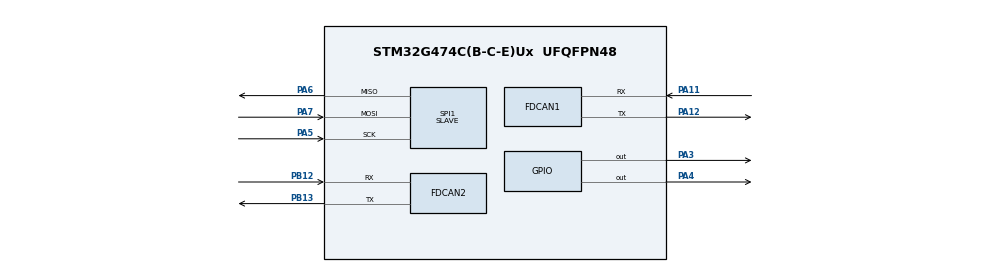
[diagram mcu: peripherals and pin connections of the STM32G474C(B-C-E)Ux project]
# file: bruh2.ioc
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Dma.Request0=SPI1_TX
Dma.Request1=SPI1_RX
Dma.SPI1_RX.1.Direction=DMA_PERIPH_TO_MEMORY
Dma.SPI1_RX.1.EventEnable=DISABLE
Dma.SPI1_RX.1.Instance=DMA1_Channel2
Dma.SPI1_RX.1.MemDataAlignment=DMA_MDATAALIGN_HALFWORD
Dma.SPI1_RX.1.MemInc=DMA_MINC_ENABLE
Dma.SPI1_RX.1.Mode=DMA_NORMAL
Dma.SPI1_RX.1.PeriphDataAlignment=DMA_PDATAALIGN_HALFWORD
Dma.SPI1_RX.1.PeriphInc=DMA_PINC_DISABLE
Dma.SPI1_RX.1.Polarity=HAL_DMAMUX_REQ_GEN_RISING
Dma.SPI1_RX.1.Priority=DMA_PRIORITY_LOW
Dma.SPI1_RX.1.RequestNumber=1
Dma.SPI1_RX.1.SignalID=NONE
Dma.SPI1_RX.1.SyncEnable=DISABLE
Dma.SPI1_RX.1.SyncPolarity=HAL_DMAMUX_SYNC_NO_EVENT
Dma.SPI1_RX.1.SyncRequestNumber=1
Dma.SPI1_RX.1.SyncSignalID=NONE
Dma.SPI1_TX.0.Direction=DMA_MEMORY_TO_PERIPH
Dma.SPI1_TX.0.EventEnable=DISABLE
Dma.SPI1_TX.0.Instance=DMA1_Channel1
Dma.SPI1_TX.0.MemDataAlignment=DMA_MDATAALIGN_HALFWORD
Dma.SPI1_TX.0.MemInc=DMA_MINC_ENABLE
Dma.SPI1_TX.0.Mode=DMA_NORMAL
Dma.SPI1_TX.0.PeriphDataAlignment=DMA_PDATAALIGN_HALFWORD
Dma.SPI1_TX.0.PeriphInc=DMA_PINC_DISABLE
Dma.SPI1_TX.0.Polarity=HAL_DMAMUX_REQ_GEN_RISING
Dma.SPI1_TX.0.Priority=DMA_PRIORITY_HIGH
Dma.SPI1_TX.0.RequestNumber=1
Dma.SPI1_TX.0.SignalID=NONE
Dma.SPI1_TX.0.SyncEnable=DISABLE
Dma.SPI1_TX.0.SyncPolarity=HAL_DMAMUX_SYNC_NO_EVENT
Dma.SPI1_TX.0.SyncRequestNumber=1
Dma.SPI1_TX.0.SyncSignalID=NONE
FDCAN1.CalculateBaudRateNominal=1000000
FDCAN1.CalculateTimeBitNominal=1000
FDCAN1.CalculateTimeQuantumNominal=6.25
FDCAN1.ClockDivider=FDCAN_CLOCK_DIV1
FDCAN1.DataSyncJumpWidth=3
FDCAN1.DataTimeSeg1=9
FDCAN1.DataTimeSeg2=10
FDCAN1.FrameFormat=FDCAN_FRAME_FD_NO_BRS
FDCAN1.NominalPrescaler=1
FDCAN1.NominalSyncJumpWidth=40
FDCAN1.NominalTimeSeg1=119
FDCAN1.NominalTimeSeg2=40
FDCAN2.CalculateBaudRateNominal=1000000
FDCAN2.CalculateTimeBitNominal=1000
FDCAN2.CalculateTimeQuantumNominal=6.25
FDCAN2.DataSyncJumpWidth=10
FDCAN2.DataTimeSeg1=9
FDCAN2.DataTimeSeg2=10
FDCAN2.FrameFormat=FDCAN_FRAME_CLASSIC
FDCAN2.NominalPrescaler=1
FDCAN2.NominalSyncJumpWidth=40
FDCAN2.NominalTimeSeg1=119
FDCAN2.NominalTimeSeg2=40
Mcu.Family=STM32G4
Mcu.Name=STM32G474C(B-C-E)Ux
Mcu.Package=UFQFPN48
NVIC.DMA1_Channel1_IRQn=true\:0\:0\:false\:false\:true\:false\:true\:true
NVIC.DMA1_Channel2_IRQn=true\:0\:0\:false\:false\:true\:false\:true\:true
NVIC.FDCAN1_IT0_IRQn=true\:0\:0\:false\:false\:true\:true\:true\:true
NVIC.FDCAN2_IT0_IRQn=true\:0\:0\:false\:false\:true\:true\:true\:true
NVIC.PriorityGroup=NVIC_PRIORITYGROUP_4
NVIC.TIM1_UP_TIM16_IRQn=true\:15\:0\:false\:false\:true\:false\:true\:true
NVIC.TimeBase=TIM1_UP_TIM16_IRQn
NVIC.TimeBaseIP=TIM16
PA11.Mode=FDCAN_Activate
PA11.Signal=FDCAN1_RX
PA12.Mode=FDCAN_Activate
PA12.Signal=FDCAN1_TX
PA13.Mode=Trace_Asynchronous_SW
PA13.Signal=SYS_JTMS-SWDIO
PA14.Mode=Trace_Asynchronous_SW
PA14.Signal=SYS_JTCK-SWCLK
PA3.GPIO_Speed=GPIO_SPEED_FREQ_VERY_HIGH
PA3.Signal=GPIO_Output
PA4.GPIO_Speed=GPIO_SPEED_FREQ_VERY_HIGH
PA4.Signal=GPIO_Output
PA5.Mode=Full_Duplex_Slave
PA5.Signal=SPI1_SCK
PA6.Mode=Full_Duplex_Slave
PA6.Signal=SPI1_MISO
PA7.GPIO_PuPd=GPIO_PULLDOWN
PA7.Mode=Full_Duplex_Slave
PA7.Signal=SPI1_MOSI
PB12.Mode=FDCAN_Activate
PB12.Signal=FDCAN2_RX
PB13.Mode=FDCAN_Activate
PB13.Signal=FDCAN2_TX
PB3.Mode=Trace_Asynchronous_SW
PB3.Signal=SYS_JTDO-SWO
PF0-OSC_IN.Signal=RCC_OSC_IN
PF1-OSC_OUT.Signal=RCC_OSC_OUT
ProjectManager.HeapSize=0x200
ProjectManager.StackSize=0x400
ProjectManager.TargetToolchain=CMake
RCC.ADC12Freq_Value=160000000
RCC.ADC345Freq_Value=160000000
RCC.AHBFreq_Value=160000000
RCC.APB1Freq_Value=160000000
RCC.APB1TimFreq_Value=160000000
RCC.APB2Freq_Value=160000000
RCC.APB2TimFreq_Value=160000000
RCC.CortexFreq_Value=160000000
RCC.EXTERNAL_CLOCK_VALUE=12288000
RCC.HCLKFreq_Value=160000000
RCC.HSE_VALUE=8000000
RCC.HSI48_VALUE=48000000
RCC.HSI_VALUE=16000000
RCC.LSE_VALUE=32768
RCC.PLLN=20
RCC.SYSCLKFreq_VALUE=160000000
RCC.SYSCLKSource=RCC_SYSCLKSOURCE_PLLCLK
RCC.USBFreq_Value=160000000
RCC.VCOOutputFreq_Value=320000000
SPI1.DataSize=SPI_DATASIZE_16BIT
SPI1.Direction=SPI_DIRECTION_2LINES
SPI1.FirstBit=SPI_FIRSTBIT_MSB
SPI1.Mode=SPI_MODE_SLAVE
SPI1.VirtualType=VM_SLAVE
VP_SYS_VS_DBSignals.Mode=DisableDeadBatterySignals
VP_SYS_VS_tim16.Mode=TIM16
board=custom

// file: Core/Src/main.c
/* USER CODE BEGIN Header */
/**
  ******************************************************************************
  * @file           : main.c
  * @brief          : Main program body
  ******************************************************************************
  * @attention
  *
  * Copyright (c) 2026 STMicroelectronics.
  * All rights reserved.
  *
  * This software is licensed under terms that can be found in the LICENSE file
  * in the root directory of this software component.
  * If no LICENSE file comes with this software, it is provided AS-IS.
  *
  ******************************************************************************
  */
/* USER CODE END Header */
#include "main.h"
#include "dma.h"
#include "fdcan.h"
#include "spi.h"
#include "gpio.h"

/* USER CODE BEGIN Includes */
#include <stdio.h>
#include <string.h>
#include <circularBuffer.h>
/* USER CODE END Includes */

/* USER CODE BEGIN PD */
#ifdef __GNUC__
#define PUTCHAR_PROTOTYPE int __io_putchar(int ch)
#else
#define PUTCHAR_PROTOTYPE int fputc(int ch, FILE *f)
#endif

/* USER CODE END PD */

/* USER CODE BEGIN PM */
PUTCHAR_PROTOTYPE
{
  ITM_SendChar(ch);
  return ch;
}
/* USER CODE END PM */

/* USER CODE BEGIN PV */
FDCAN_RxHeaderTypeDef RxHeader_FDCAN2;
enum {
  TRANSFER_WAIT,
  TRANSFER_COMPLETE,
  TRANSFER_ERROR
};
__IO uint32_t wTransferState = TRANSFER_COMPLETE;
struct CAN{
  union{
    uint16_t buffer[35];
    struct{
      uint32_t ID;
      uint8_t bus;
      uint8_t length;
      uint8_t data[64];
    }split;
  }combined;
};

/* DLC to actual byte count lookup (same as HAL internal table) */
static const uint8_t dlc2bytes[] = {0,1,2,3,4,5,6,7,8,12,16,20,24,32,48,64};

/* Dedicated DMA TX buffer — prevents the circular-buffer slot being
   overwritten by a new CAN message while DMA is still reading from it. */
static struct CAN txBuf;

struct CAN buffer[64];

CircularBuffer *cb = NULL;

/* USER CODE END PV */

void SystemClock_Config(void);

int main(void)
{

  /* MCU Configuration--------------------------------------------------------*/

  /* Reset of all peripherals, Initializes the Flash interface and the Systick. */
  bruh:
  HAL_Init();

  /* USER CODE BEGIN Init */
  static uint16_t RxData[36];
  FDCAN_TxHeaderTypeDef TxHeader;
  TxHeader.Identifier = 0x3FF;
  TxHeader.IdType = FDCAN_STANDARD_ID;
  TxHeader.TxFrameType = FDCAN_DATA_FRAME;
  TxHeader.DataLength = FDCAN_DLC_BYTES_8;
  TxHeader.ErrorStateIndicator = FDCAN_ESI_ACTIVE;
  TxHeader.BitRateSwitch = FDCAN_BRS_OFF;
  TxHeader.FDFormat = FDCAN_CLASSIC_CAN;
  TxHeader.TxEventFifoControl = FDCAN_NO_TX_EVENTS;
  TxHeader.MessageMarker = 0;

  /* USER CODE END Init */

  /* Configure the system clock */
  SystemClock_Config();

  /* Initialize all configured peripherals */
  MX_GPIO_Init();
  MX_DMA_Init();
  MX_FDCAN1_Init();
  MX_SPI1_Init();
  MX_FDCAN2_Init();
  /* USER CODE BEGIN 2 */
  cb = circular_buffer_init(64, 72);
  // sets the CS pin to high to avoid any fuckery
  GPIOA->BSRR = (uint32_t)GPIO_PIN_4;
  HAL_FDCAN_ActivateNotification(&hfdcan2, FDCAN_IT_RX_FIFO0_NEW_MESSAGE, 0);
  HAL_FDCAN_ActivateNotification(&hfdcan1, FDCAN_IT_RX_FIFO0_NEW_MESSAGE, 0);
  HAL_FDCAN_Start(&hfdcan1);
  HAL_FDCAN_Start(&hfdcan2);
  uint32_t time = HAL_GetTick();

  /* USER CODE END 2 */

  /* Infinite loop */
  /* USER CODE BEGIN WHILE */
  while (1)
  {
    // struct CAN *tmp2 = circularBufferPop(cb);
    // if (tmp2 != NULL){
    //   HAL_GPIO_TogglePin(GPIOA, GPIO_PIN_3);
    // }
    if(wTransferState == TRANSFER_COMPLETE)
    {
      struct CAN *tmp2 = circularBufferPop(cb);
      if(tmp2 != NULL){
        uint8_t temp = 0;
        wTransferState = TRANSFER_WAIT;
        /* length is already actual bytes (converted from DLC in the callback) */
        uint8_t length = tmp2->combined.split.length;
        if (length > 64) length = 64;  /* safety clamp */
        temp = (length >> 1) + (length % 2) + 3;
        /* Copy to dedicated TX buffer so DMA doesn't read from a slot that
           could be recycled by a new CAN message before the transfer ends */
        memcpy(&txBuf, tmp2, sizeof(txBuf));
        HAL_SPI_TransmitReceive_DMA(&hspi1, (uint8_t *)&txBuf, (uint8_t *)RxData, temp);
        GPIOA->BRR = (uint32_t)GPIO_PIN_4;
        // HAL_GPIO_TogglePin(GPIOA, GPIO_PIN_3);
        HAL_GPIO_WritePin(GPIOA, GPIO_PIN_3, GPIO_PIN_RESET);
        time = HAL_GetTick();
      }
    }
    if(HAL_GetTick() - time > 5000){
      time = HAL_GetTick();
      __disable_irq();
      wTransferState = TRANSFER_COMPLETE;
      HAL_SPI_Abort(&hspi1);
      HAL_SPI_DeInit(&hspi1);
      MX_DMA_Init();
      HAL_SPI_Init(&hspi1);
      __enable_irq();
      GPIOA->BSRR = (uint32_t)GPIO_PIN_4;
      /* Same hold-off so the master's debounce settles */
      HAL_Delay(20);
    }

    // HAL_GPIO_TogglePin(GPIOA, GPIO_PIN_3);
    // HAL_Delay(100);
    /* USER CODE END WHILE */

  }
}

void SystemClock_Config(void)
{
  LL_FLASH_SetLatency(LL_FLASH_LATENCY_4);
  while(LL_FLASH_GetLatency() != LL_FLASH_LATENCY_4)
  {
  }
  LL_PWR_EnableRange1BoostMode();
  LL_RCC_HSI_Enable();
   /* Wait till HSI is ready */
  while(LL_RCC_HSI_IsReady() != 1)
  {
  }

  LL_RCC_HSI_SetCalibTrimming(64);
  LL_RCC_PLL_ConfigDomain_SYS(LL_RCC_PLLSOURCE_HSI, LL_RCC_PLLM_DIV_1, 20, LL_RCC_PLLR_DIV_2);
  LL_RCC_PLL_EnableDomain_SYS();
  LL_RCC_PLL_Enable();
   /* Wait till PLL is ready */
  while(LL_RCC_PLL_IsReady() != 1)
  {
  }

  LL_RCC_SetSysClkSource(LL_RCC_SYS_CLKSOURCE_PLL);
  LL_RCC_SetAHBPrescaler(LL_RCC_SYSCLK_DIV_2);
   /* Wait till System clock is ready */
  while(LL_RCC_GetSysClkSource() != LL_RCC_SYS_CLKSOURCE_STATUS_PLL)
  {
  }

  /* Insure 1us transition state at intermediate medium speed clock*/
  for (__IO uint32_t i = (170 >> 1); i !=0; i--);

  /* Set AHB prescaler*/
  LL_RCC_SetAHBPrescaler(LL_RCC_SYSCLK_DIV_1);
  LL_RCC_SetAPB1Prescaler(LL_RCC_APB1_DIV_1);
  LL_RCC_SetAPB2Prescaler(LL_RCC_APB2_DIV_1);
  LL_SetSystemCoreClock(160000000);

   /* Update the time base */
  if (HAL_InitTick (TICK_INT_PRIORITY) != HAL_OK)
  {
    Error_Handler();
  }
}

/* USER CODE BEGIN 4 */
void HAL_FDCAN_RxFifo0Callback(FDCAN_HandleTypeDef *hfdcan, uint32_t RxFifo0ITs)
{
  struct CAN tmp = {};
  HAL_FDCAN_GetRxMessage(hfdcan, FDCAN_RX_FIFO0, &RxHeader_FDCAN2, tmp.combined.split.data);
  tmp.combined.split.ID = RxHeader_FDCAN2.Identifier;
  /* Convert DLC code (0-15) to actual byte count — the SPI master uses
     this value to decide how many bytes to transfer. */
  tmp.combined.split.length = (RxHeader_FDCAN2.DataLength < 16) ? dlc2bytes[RxHeader_FDCAN2.DataLength] : RxHeader_FDCAN2.DataLength;
  tmp.combined.split.bus = hfdcan->Instance == FDCAN1 ? 1 : 2;
  circularBufferPush(cb, tmp.combined.buffer, sizeof(tmp.combined.buffer));
}

void HAL_SPI_TxRxCpltCallback(SPI_HandleTypeDef *hspi)
{
  // HAL_GPIO_WritePin(GPIOA, GPIO_PIN_4, GPIO_PIN_RESET);
  HAL_GPIO_WritePin(GPIOA, GPIO_PIN_3, GPIO_PIN_SET);

  GPIOA->BSRR = (uint32_t)GPIO_PIN_4;
  wTransferState = TRANSFER_COMPLETE;
}

void HAL_SPI_ErrorCallback(SPI_HandleTypeDef *hspi)
{
  GPIOA->BSRR = (uint32_t)GPIO_PIN_4;
  wTransferState = TRANSFER_ERROR;
}
/* USER CODE END 4 */

void HAL_TIM_PeriodElapsedCallback(TIM_HandleTypeDef *htim)
{
  if (htim->Instance == TIM16)
  {
    HAL_IncTick();
  }
}

void Error_Handler(void)
{
  /* USER CODE BEGIN Error_Handler_Debug */
  /* User can add his own implementation to report the HAL error return state */
  __disable_irq();
  while (1)
  {
    for(uint32_t i = 0; i < 100000; i++);
    HAL_GPIO_TogglePin(GPIOA, GPIO_PIN_3);
  }
  /* USER CODE END Error_Handler_Debug */
}
